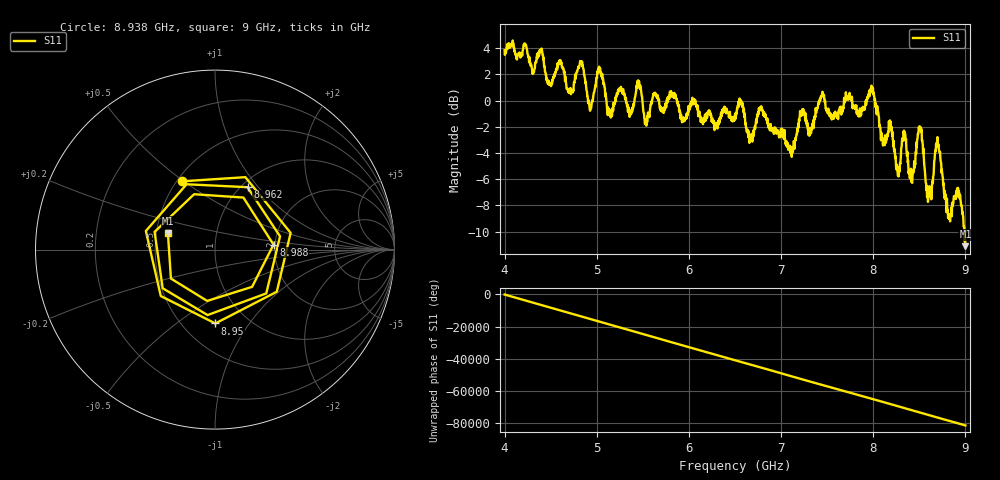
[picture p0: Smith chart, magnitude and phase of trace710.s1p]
! Created with skrf 1.8.0 (http://scikit-rf.org).
# Hz S RI R 50.0
!freq ReS11 ImS11
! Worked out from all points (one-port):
!   1601 points, 4 GHz to 9 GHz, reference 50 ohm
!   lowest |S11| = -11.1 dB at 9 GHz (marker M1), VSWR 1.77, Z = 28.8 + j5.72 ohm
!   |S11| at or under -10 dB: 8.98893 GHz to end of sweep
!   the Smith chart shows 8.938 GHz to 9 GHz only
!   S11 on the Smith chart (normalised r, x): 8.938 GHz: 0.53, +0.49; 8.95 GHz: 0.71, -0.71; 8.962 GHz: 1.07, +0.88; 8.988 GHz: 1.96, +0.12; 9 GHz: 0.58, +0.11
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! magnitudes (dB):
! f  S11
! 4 GHz  3.8
! 4.625 GHz  2.6
! 4.712 GHz  0.7
! 4.838 GHz  2.8
! 4.931 GHz  -0.6
! 5.034 GHz  2.5
! 5.141 GHz  -0.8
! 5.25 GHz  0.9
! 5.541 GHz  -1.8
! 5.875 GHz  -0.1
! 6.5 GHz  -1.1
! 7.125 GHz  -3.8
! 7.225 GHz  -0.9
! 7.75 GHz  0.2
! 7.988 GHz  1.0
! 8.262 GHz  -5.3
! 8.331 GHz  -2.5
! 8.375 GHz  -4.7
! 8.431 GHz  -5.5
! 8.506 GHz  -2.1
! 8.606 GHz  -7.0
! 8.7 GHz  -3.2
! 8.819 GHz  -9.0
! 8.938 GHz  -7.5
! 8.95 GHz  -7.7
! 8.962 GHz  -8.1
! 8.988 GHz  -9.7
! 9 GHz  -11.1
